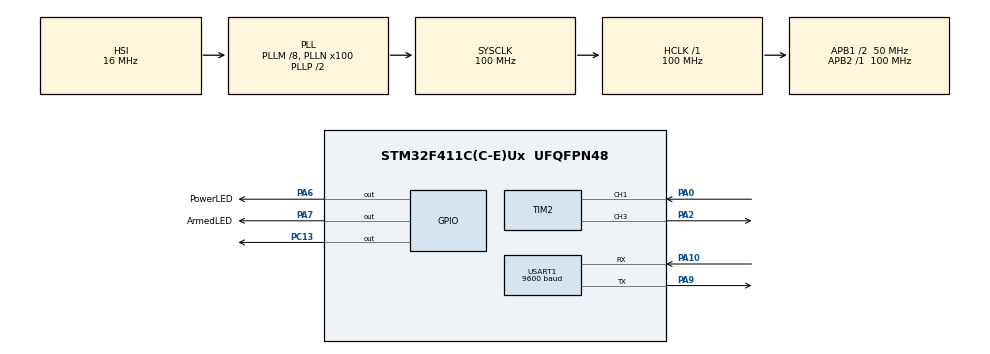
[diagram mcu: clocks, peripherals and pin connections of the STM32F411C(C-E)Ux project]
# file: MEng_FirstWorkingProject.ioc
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Mcu.Family=STM32F4
Mcu.Name=STM32F411C(C-E)Ux
Mcu.Package=UFQFPN48
NVIC.PriorityGroup=NVIC_PRIORITYGROUP_4
NVIC.USART1_IRQn=true\:0\:0\:false\:false\:true\:true\:true\:true
PA0-WKUP.GPIO_PuPd=GPIO_PULLDOWN
PA0-WKUP.Signal=S_TIM2_CH1_ETR
PA10.Mode=Asynchronous
PA10.Signal=USART1_RX
PA2.Signal=S_TIM2_CH3
PA6.GPIO_Label=PowerLED
PA6.PinState=GPIO_PIN_SET
PA6.Signal=GPIO_Output
PA7.GPIO_Label=ArmedLED
PA7.Signal=GPIO_Output
PA9.Mode=Asynchronous
PA9.Signal=USART1_TX
PC13-ANTI_TAMP.Signal=GPIO_Output
PH0\ -\ OSC_IN.Mode=HSE-External-Oscillator
PH0\ -\ OSC_IN.Signal=RCC_OSC_IN
PH1\ -\ OSC_OUT.Mode=HSE-External-Oscillator
PH1\ -\ OSC_OUT.Signal=RCC_OSC_OUT
ProjectManager.HeapSize=0x200
ProjectManager.StackSize=0x400
ProjectManager.TargetToolchain=STM32CubeIDE
RCC.48MHZClocksFreq_Value=50000000
RCC.AHBFreq_Value=100000000
RCC.APB1CLKDivider=RCC_HCLK_DIV2
RCC.APB1Freq_Value=50000000
RCC.APB1TimFreq_Value=100000000
RCC.APB2Freq_Value=100000000
RCC.APB2TimFreq_Value=100000000
RCC.CortexFreq_Value=100000000
RCC.HCLKFreq_Value=100000000
RCC.HSE_VALUE=25000000
RCC.HSI_VALUE=16000000
RCC.LSE_VALUE=32768
RCC.PLLM=8
RCC.PLLN=100
RCC.SYSCLKFreq_VALUE=100000000
RCC.SYSCLKSource=RCC_SYSCLKSOURCE_PLLCLK
RCC.VCOOutputFreq_Value=200000000
SH.S_TIM2_CH1_ETR.0=TIM2_CH1,TriggerSource_TI1FP1
SH.S_TIM2_CH3.0=TIM2_CH3,PWM Generation3 CH3
TIM2.Channel-PWM\ Generation3\ CH3=TIM_CHANNEL_3
TIM2.OCPolarity_3=TIM_OCPOLARITY_LOW
USART1.BaudRate=9600
USART1.VirtualMode=VM_ASYNC
VP_TIM2_VS_ClockSourceINT.Mode=Internal
VP_TIM2_VS_ControllerModeTrigger.Mode=Trigger Mode
VP_TIM2_VS_OPM.Mode=OPM_bit
board=custom

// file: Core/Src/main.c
/* USER CODE BEGIN Header */
/**
  ******************************************************************************
  * @file           : main.c
  * @brief          : Main program body
  ******************************************************************************
  * @attention
  *
  * Copyright (c) 2024 STMicroelectronics.
  * All rights reserved.
  *
  * This software is licensed under terms that can be found in the LICENSE file
  * in the root directory of this software component.
  * If no LICENSE file comes with this software, it is provided AS-IS.
  *
  ******************************************************************************
  */
/* USER CODE END Header */
#include "main.h"

/* USER CODE BEGIN PD */
#define PROGRAM 1000
#define DELAY 1001
#define WIDTH 1002
#define ARMED 1003

#define DREGISTER 1004

#define SENTENCESIZE 32

#define RESPONSETIME 64 //Time from external trigger to timer starting (measured with oscilloscope
#define QTIME 380 //time between trigger pulse and light
/* USER CODE END PD */

TIM_HandleTypeDef htim2;

UART_HandleTypeDef huart1;

/* USER CODE BEGIN PV */
uint32_t CLOCKTIME = 10;
uint32_t lineDelay_ns = 0; //delay from trigger pulse line + rf line to maser (needs to be measured)
uint32_t swithDelay_ns = 150; //The switch turn on time (from the datasheet)

int current_state = PROGRAM;
uint32_t targetDelay_ns = 0; //The desired delay for the pulse
uint32_t targetWidth_ns = 20000; //The desired width of the pulse
uint32_t registerDelay = 17; //The value for delay that will be put in the register
uint32_t registerWidth = 2017; //The value for width that will be put in the register

uint8_t newLine[1] = {0x0A};
uint8_t carriageReturn[1] = {0x0D};

uint8_t UART1_rxBuffer[1] = {0};
uint8_t commandBuffer[SENTENCESIZE] = {0};
uint8_t commandIndex = 0;

//Here we define the words to look for
uint8_t width_call[5] = "width";
uint8_t delay_call[5] = "delay";
uint8_t dregister_call[4] = "CCR3";
uint8_t arm_call[3] = "arm";
uint8_t stop_call[4] = "stop";

uint8_t read_call[5] = "read";
/* USER CODE END PV */

void SystemClock_Config(void);
static void MX_GPIO_Init(void);
static void MX_USART1_UART_Init(void);
static void MX_TIM2_Init(void);
/* USER CODE BEGIN PFP */
void Control_HandleMessage(uint8_t[]);
int Message_Equality(uint8_t[],uint8_t[], int);
/* USER CODE END PFP */

int main(void)
{

  /* MCU Configuration--------------------------------------------------------*/

  /* Reset of all peripherals, Initializes the Flash interface and the Systick. */
  HAL_Init();

  /* Configure the system clock */
  SystemClock_Config();

  /* Initialize all configured peripherals */
  MX_GPIO_Init();
  MX_USART1_UART_Init();
  MX_TIM2_Init();
  /* USER CODE BEGIN 2 */
  HAL_GPIO_WritePin(GPIOC, GPIO_PIN_13, GPIO_PIN_SET);
  HAL_UART_Receive_IT(&huart1, UART1_rxBuffer, 1); //Prepare the UART Interrupt for receiving the commands

  TIM2->ARR = registerWidth; // Time pulse is on = ((ARR) * time per clock tick)-CCR3
  TIM2->CCR3 = registerDelay; // if it is 1 there is no delay (measured reaction time is 64ns). numbers greater than 1 add multiple of time per clock tick

  /* USER CODE END 2 */

  /* Infinite loop */
  while (1)
  {

  }
}

void SystemClock_Config(void)
{
  RCC_OscInitTypeDef RCC_OscInitStruct = {0};
  RCC_ClkInitTypeDef RCC_ClkInitStruct = {0};

  /** Configure the main internal regulator output voltage
  */
  __HAL_RCC_PWR_CLK_ENABLE();
  __HAL_PWR_VOLTAGESCALING_CONFIG(PWR_REGULATOR_VOLTAGE_SCALE1);

  /** Initializes the RCC Oscillators according to the specified parameters
  * in the RCC_OscInitTypeDef structure.
  */
  RCC_OscInitStruct.OscillatorType = RCC_OSCILLATORTYPE_HSI;
  RCC_OscInitStruct.HSIState = RCC_HSI_ON;
  RCC_OscInitStruct.HSICalibrationValue = RCC_HSICALIBRATION_DEFAULT;
  RCC_OscInitStruct.PLL.PLLState = RCC_PLL_ON;
  RCC_OscInitStruct.PLL.PLLSource = RCC_PLLSOURCE_HSI;
  RCC_OscInitStruct.PLL.PLLM = 8;
  RCC_OscInitStruct.PLL.PLLN = 100;
  RCC_OscInitStruct.PLL.PLLP = RCC_PLLP_DIV2;
  RCC_OscInitStruct.PLL.PLLQ = 4;
  if (HAL_RCC_OscConfig(&RCC_OscInitStruct) != HAL_OK)
  {
    Error_Handler();
  }

  /** Initializes the CPU, AHB and APB buses clocks
  */
  RCC_ClkInitStruct.ClockType = RCC_CLOCKTYPE_HCLK|RCC_CLOCKTYPE_SYSCLK
                              |RCC_CLOCKTYPE_PCLK1|RCC_CLOCKTYPE_PCLK2;
  RCC_ClkInitStruct.SYSCLKSource = RCC_SYSCLKSOURCE_PLLCLK;
  RCC_ClkInitStruct.AHBCLKDivider = RCC_SYSCLK_DIV1;
  RCC_ClkInitStruct.APB1CLKDivider = RCC_HCLK_DIV2;
  RCC_ClkInitStruct.APB2CLKDivider = RCC_HCLK_DIV1;

  if (HAL_RCC_ClockConfig(&RCC_ClkInitStruct, FLASH_LATENCY_3) != HAL_OK)
  {
    Error_Handler();
  }
}

static void MX_TIM2_Init(void)
{

  TIM_ClockConfigTypeDef sClockSourceConfig = {0};
  TIM_SlaveConfigTypeDef sSlaveConfig = {0};
  TIM_MasterConfigTypeDef sMasterConfig = {0};
  TIM_OC_InitTypeDef sConfigOC = {0};

  htim2.Instance = TIM2;
  htim2.Init.Prescaler = 0;
  htim2.Init.CounterMode = TIM_COUNTERMODE_UP;
  htim2.Init.Period = 4294967295;
  htim2.Init.ClockDivision = TIM_CLOCKDIVISION_DIV1;
  htim2.Init.AutoReloadPreload = TIM_AUTORELOAD_PRELOAD_DISABLE;
  if (HAL_TIM_Base_Init(&htim2) != HAL_OK)
  {
    Error_Handler();
  }
  sClockSourceConfig.ClockSource = TIM_CLOCKSOURCE_INTERNAL;
  if (HAL_TIM_ConfigClockSource(&htim2, &sClockSourceConfig) != HAL_OK)
  {
    Error_Handler();
  }
  if (HAL_TIM_PWM_Init(&htim2) != HAL_OK)
  {
    Error_Handler();
  }
  if (HAL_TIM_OnePulse_Init(&htim2, TIM_OPMODE_SINGLE) != HAL_OK)
  {
    Error_Handler();
  }
  sSlaveConfig.SlaveMode = TIM_SLAVEMODE_TRIGGER;
  sSlaveConfig.InputTrigger = TIM_TS_TI1FP1;
  sSlaveConfig.TriggerPolarity = TIM_TRIGGERPOLARITY_RISING;
  sSlaveConfig.TriggerFilter = 0;
  if (HAL_TIM_SlaveConfigSynchro(&htim2, &sSlaveConfig) != HAL_OK)
  {
    Error_Handler();
  }
  sMasterConfig.MasterOutputTrigger = TIM_TRGO_RESET;
  sMasterConfig.MasterSlaveMode = TIM_MASTERSLAVEMODE_DISABLE;
  if (HAL_TIMEx_MasterConfigSynchronization(&htim2, &sMasterConfig) != HAL_OK)
  {
    Error_Handler();
  }
  sConfigOC.OCMode = TIM_OCMODE_PWM1;
  sConfigOC.Pulse = 0;
  sConfigOC.OCPolarity = TIM_OCPOLARITY_LOW;
  sConfigOC.OCFastMode = TIM_OCFAST_DISABLE;
  if (HAL_TIM_PWM_ConfigChannel(&htim2, &sConfigOC, TIM_CHANNEL_3) != HAL_OK)
  {
    Error_Handler();
  }
  HAL_TIM_MspPostInit(&htim2);

}

static void MX_USART1_UART_Init(void)
{

  huart1.Instance = USART1;
  huart1.Init.BaudRate = 9600;
  huart1.Init.WordLength = UART_WORDLENGTH_8B;
  huart1.Init.StopBits = UART_STOPBITS_1;
  huart1.Init.Parity = UART_PARITY_NONE;
  huart1.Init.Mode = UART_MODE_TX_RX;
  huart1.Init.HwFlowCtl = UART_HWCONTROL_NONE;
  huart1.Init.OverSampling = UART_OVERSAMPLING_16;
  if (HAL_UART_Init(&huart1) != HAL_OK)
  {
    Error_Handler();
  }

}

static void MX_GPIO_Init(void)
{
  GPIO_InitTypeDef GPIO_InitStruct = {0};

  /* GPIO Ports Clock Enable */
  __HAL_RCC_GPIOC_CLK_ENABLE();
  __HAL_RCC_GPIOH_CLK_ENABLE();
  __HAL_RCC_GPIOA_CLK_ENABLE();

  /*Configure GPIO pin Output Level */
  HAL_GPIO_WritePin(GPIOC, GPIO_PIN_13, GPIO_PIN_RESET);

  /*Configure GPIO pin Output Level */
  HAL_GPIO_WritePin(PowerLED_GPIO_Port, PowerLED_Pin, GPIO_PIN_SET);

  /*Configure GPIO pin Output Level */
  HAL_GPIO_WritePin(ArmedLED_GPIO_Port, ArmedLED_Pin, GPIO_PIN_RESET);

  /*Configure GPIO pin : PC13 */
  GPIO_InitStruct.Pin = GPIO_PIN_13;
  GPIO_InitStruct.Mode = GPIO_MODE_OUTPUT_PP;
  GPIO_InitStruct.Pull = GPIO_NOPULL;
  GPIO_InitStruct.Speed = GPIO_SPEED_FREQ_LOW;
  HAL_GPIO_Init(GPIOC, &GPIO_InitStruct);

  /*Configure GPIO pins : PowerLED_Pin ArmedLED_Pin */
  GPIO_InitStruct.Pin = PowerLED_Pin|ArmedLED_Pin;
  GPIO_InitStruct.Mode = GPIO_MODE_OUTPUT_PP;
  GPIO_InitStruct.Pull = GPIO_NOPULL;
  GPIO_InitStruct.Speed = GPIO_SPEED_FREQ_LOW;
  HAL_GPIO_Init(GPIOA, &GPIO_InitStruct);

}

/* USER CODE BEGIN 4 */
int Message_Equality(uint8_t *message, uint8_t *keyWord, int keyword_size){
/*Gets the message from the UART (message +trailing 0s) and compares the first characters of it with a keyword.
 * It also checks whether the next character is 0 to confirm that was the message. Returns 1 if equal.*/
	for(int i=0; i<keyword_size; i++){
		if (message[i] != keyWord[i]){
			return 0;
		}
	}
	if (message[keyword_size] == 0){
		return 1;
	}
	return 0;
}

void Control_HandleMessage(uint8_t *message){
/*Function gets the UART message buffer and acts on it based on the current state of the device*/
	switch(current_state){
	case PROGRAM:
		HAL_UART_Transmit(&huart1, "Program Mode", 12, 100);
		HAL_UART_Transmit(&huart1, newLine, 1, 100); //\n
		HAL_UART_Transmit(&huart1, carriageReturn, 1, 100); //\r

		//WIDTH
		if (Message_Equality(message, width_call, 5)){
			HAL_UART_Transmit(&huart1, "type width (ns):", 16, 100);
			HAL_UART_Transmit(&huart1, newLine, 1, 100); //\n
			HAL_UART_Transmit(&huart1, carriageReturn, 1, 100); //\r
			current_state = WIDTH;
		}
		//DELAY
		if (Message_Equality(message, delay_call, 5)){
			HAL_UART_Transmit(&huart1, "type delay (ns):", 16, 100);
			HAL_UART_Transmit(&huart1, newLine, 1, 100); //\n
			HAL_UART_Transmit(&huart1, carriageReturn, 1, 100); //\r
			current_state = DELAY;
		}
		//DREGISTER
		if (Message_Equality(message, dregister_call, 4)){
			HAL_UART_Transmit(&huart1, "type CCR3:", 10, 100);
			HAL_UART_Transmit(&huart1, newLine, 1, 100); //\n
			HAL_UART_Transmit(&huart1, carriageReturn, 1, 100); //\r
			current_state = DREGISTER;
		}
		//READ
		if (Message_Equality(message, read_call, 5)){
			uint8_t number_out_str[8] = {0};
			sprintf(number_out_str, "%d", targetDelay_ns);

			HAL_UART_Transmit(&huart1, "delay (ns): ", 12, 100);
			HAL_UART_Transmit(&huart1, number_out_str, 8, 100);
			HAL_UART_Transmit(&huart1, newLine, 1, 100); //\n
			HAL_UART_Transmit(&huart1, carriageReturn, 1, 100); //\r

			for (int i = 0; i<8; i++){
				number_out_str[i]= 0;
			}
			sprintf(number_out_str, "%d", registerDelay);

			HAL_UART_Transmit(&huart1, "delay (CCR): ", 13, 100);
			HAL_UART_Transmit(&huart1, number_out_str, 8, 100);
			HAL_UART_Transmit(&huart1, newLine, 1, 100); //\n
			HAL_UART_Transmit(&huart1, carriageReturn, 1, 100); //\r

			for (int i = 0; i<8; i++){
				number_out_str[i]= 0;
			}

			sprintf(number_out_str, "%d", targetWidth_ns);

			HAL_UART_Transmit(&huart1, "width (ns): ", 12, 100);
			HAL_UART_Transmit(&huart1, number_out_str, 8, 100);
			HAL_UART_Transmit(&huart1, newLine, 1, 100); //\n
			HAL_UART_Transmit(&huart1, carriageReturn, 1, 100); //\r
			for (int i = 0; i<8; i++){
				number_out_str[i]= 0;
			}

			sprintf(number_out_str, "%d", registerWidth);

			HAL_UART_Transmit(&huart1, "width (ARR): ", 13, 100);
			HAL_UART_Transmit(&huart1, number_out_str, 8, 100);
			HAL_UART_Transmit(&huart1, newLine, 1, 100); //\n
			HAL_UART_Transmit(&huart1, carriageReturn, 1, 100); //\r
		}
		//ARM
		if (Message_Equality(message, arm_call, 3)){
			HAL_UART_Transmit(&huart1, "ARMING", 6, 100);
			HAL_UART_Transmit(&huart1, newLine, 1, 100); //\n
			HAL_UART_Transmit(&huart1, carriageReturn, 1, 100); //\r

			current_state = ARMED;
			HAL_GPIO_WritePin(GPIOA, ArmedLED_Pin, GPIO_PIN_SET);

			TIM2->ARR = registerWidth; // Time pulse is on = ((ARR) * time per clock tick)-CCR3
			TIM2->CCR3 = registerDelay; // if it is 1 there is no delay (measured reaction time is 64ns).
			HAL_TIM_PWM_Start_IT(&htim2, TIM_CHANNEL_3); //Starts the timer in interrupt mode
			HAL_GPIO_WritePin(GPIOC, GPIO_PIN_13, GPIO_PIN_RESET);
		}
		break;
	case ARMED:
		if (Message_Equality(message, stop_call, 4)){
			HAL_TIM_PWM_Stop_IT(&htim2, TIM_CHANNEL_3);
			current_state = PROGRAM;
			HAL_GPIO_WritePin(GPIOC, GPIO_PIN_13, GPIO_PIN_SET);
			HAL_GPIO_WritePin(GPIOA, ArmedLED_Pin, GPIO_PIN_RESET);
		}
		break;
	default:
		//if not armed or programming, it is in delay or width setting mode so we start by interpreting a number
		uint32_t value = 0;
		uint32_t multiplier = 1;
		for (int i = SENTENCESIZE-1; i>=0; i--){
			if (message[i] >= 0x30){
				value += (((uint32_t) message[i])- 0x30) * multiplier;
				multiplier = multiplier * 10;
			}
		}
		if (current_state == WIDTH){
			targetWidth_ns = value;
			registerWidth = (value/CLOCKTIME) + registerDelay;
			current_state = PROGRAM;
		}else if (current_state == DREGISTER){
			registerDelay = value;
			targetDelay_ns = -QTIME+(RESPONSETIME + lineDelay_ns + swithDelay_ns) + value *CLOCKTIME;
			registerWidth = (targetWidth_ns/CLOCKTIME) + registerDelay;
			current_state = PROGRAM;
		}else {
			targetDelay_ns = value;
			registerDelay = ((value+QTIME-(RESPONSETIME + lineDelay_ns + swithDelay_ns))/CLOCKTIME)+1;
			registerWidth = (targetWidth_ns/CLOCKTIME) + registerDelay;
			current_state = PROGRAM;
		}

	}
}

//------------------INTERRUPT HANDLING-----------------------------//
void HAL_UART_RxCpltCallback(UART_HandleTypeDef *huart){ //Function callback on UART data received
    if (UART1_rxBuffer[0] == 0x0D){
    	HAL_UART_Transmit(&huart1, newLine, 1, 100); //\n
    	HAL_UART_Transmit(&huart1, carriageReturn, 1, 100); //\r

    	//interpret the message
    	Control_HandleMessage(commandBuffer);
    	//reset the buffer
    	commandIndex = 0;
    	for(int i = 0; i < SENTENCESIZE; i++){ //reset the buffer to 00000...
    		commandBuffer[i] = 0;
    	}
    }else {
    	if (commandIndex != 0 && UART1_rxBuffer[0] == 0x08){
    		commandIndex--;
    		commandBuffer[commandIndex] = 0;
    	}else {
    		commandBuffer[commandIndex] = UART1_rxBuffer[0];
    		commandIndex++;
    	}
    	HAL_UART_Transmit(&huart1, carriageReturn, 1, 100); //\r
    	HAL_UART_Transmit(&huart1, commandBuffer, SENTENCESIZE, 100);
    }

	HAL_UART_Receive_IT(&huart1, UART1_rxBuffer, 1); //Prepare the UART Interrupt for receiving the commands again
}
/* USER CODE END 4 */

void Error_Handler(void)
{
  __disable_irq();
  while (1)
  {
  }
}
